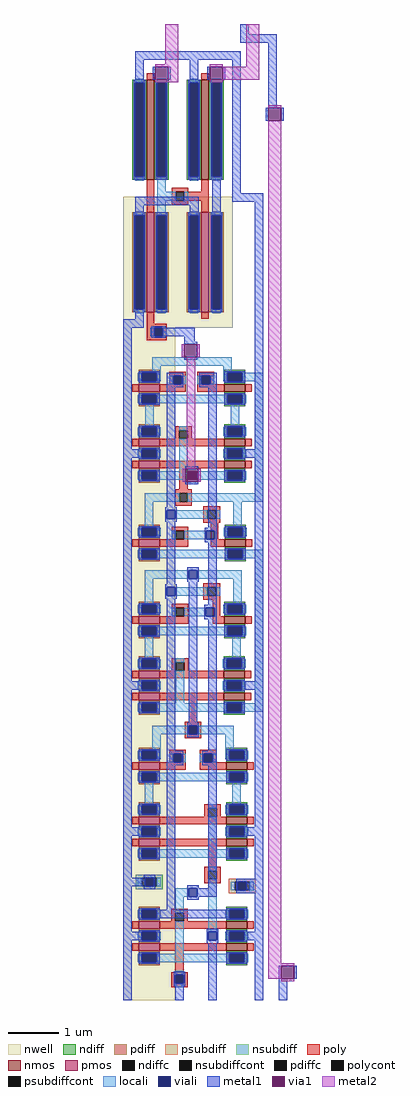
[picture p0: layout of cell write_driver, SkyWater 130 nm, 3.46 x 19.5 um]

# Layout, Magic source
magic
tech sky130A
magscale 1 2
<< poly >>
rect 94 3174 124 3252
rect 193 3230 260 3247
rect 312 3230 342 3252
rect 193 3195 209 3230
rect 243 3195 342 3230
rect 193 3179 260 3195
rect 312 3174 342 3195
rect 94 2702 124 2722
rect 94 2686 174 2702
rect 94 2652 124 2686
rect 158 2652 174 2686
rect 94 2636 174 2652
<< polycont >>
rect 209 3195 243 3230
rect 124 2652 158 2686
<< locali >>
rect 136 3230 170 3274
rect 136 3195 209 3230
rect 243 3195 260 3230
rect 136 3152 170 3195
rect 108 2652 124 2686
rect 158 2652 174 2686
<< viali >>
rect 124 2652 158 2686
<< metal1 >>
rect 466 3861 500 3901
rect 466 3827 612 3861
rect 48 3758 469 3792
rect 48 3678 82 3758
rect 117 3678 127 3730
rect 179 3678 189 3730
rect 266 3678 300 3758
rect 335 3678 345 3730
rect 397 3678 407 3730
rect 47 3176 301 3210
rect 47 3148 82 3176
rect 266 3148 301 3176
rect 354 3136 388 3290
rect 435 3225 469 3758
rect 578 3566 612 3827
rect 568 3514 578 3566
rect 630 3514 640 3566
rect 435 3191 559 3225
rect 47 2720 82 2748
rect 0 2686 82 2720
rect 112 2686 170 2692
rect 525 2686 559 3191
rect 112 2652 124 2686
rect 158 2652 286 2686
rect 112 2646 170 2652
rect 244 2631 252 2652
rect 620 85 630 137
rect 682 85 692 137
rect 620 0 654 85
<< via1 >>
rect 127 3678 179 3730
rect 345 3678 397 3730
rect 578 3514 630 3566
rect 630 85 682 137
<< metal2 >>
rect 167 3740 219 3901
rect 127 3730 219 3740
rect 179 3678 219 3730
rect 127 3668 219 3678
rect 345 3730 397 3740
rect 491 3730 543 3901
rect 397 3678 543 3730
rect 345 3668 397 3678
rect 578 3566 630 3576
rect 578 147 630 3514
rect 578 137 682 147
rect 578 85 630 137
rect 630 75 682 85
use sky130_fd_pr__nfet_01v8_JB3UY8  m1
transform 1 0 109 0 1 3478
box -73 -226 73 226
use sky130_fd_pr__pfet_01v8_5YUHNA  m2
transform 1 0 109 0 1 2948
box -109 -262 109 262
use sky130_fd_pr__pfet_01v8_5YUHNA  m3
transform 1 0 327 0 1 2948
box -109 -262 109 262
use sky130_fd_pr__nfet_01v8_JB3UY8  m4
transform 1 0 327 0 1 3478
box -73 -226 73 226
use ms_ff_f  ms_ff_f_0 ~/Desktop/FabRAM/FE/sram130/ms_ff
transform 0 -1 558 1 0 0
box 0 0 2686 558
<< end >>

# cell sky130_fd_pr__nfet_01v8_JB3UY8: kit device sky130_fd_pr__nfet_01v8, w 2 l 0.150 m 1 nf 1 diffcov 100 polycov 100 guard 0 glc 0 grc 0 gtc 0 gbc 0 tbcov 100 rlcov 100 topc 0 botc 0 poverlap 0 doverlap 0 lmin 0.15 wmin 0.42 compatible {sky130_fd_pr__nfet_01v8 sky130_fd_pr__nfet_01v8_lvt sky130_fd_bs_flash__special_sonosfet_star sky130_fd_pr__nfet_g5v0d10v5 sky130_fd_pr__nfet_05v0_nvt sky130_fd_pr__nfet_03v3_nvt} full_metal 0 viasrc 100 viadrn 100 viagate 100 viagb 0 viagr 0 viagl 0 viagt 0

# cell sky130_fd_pr__pfet_01v8_5YUHNA: kit device sky130_fd_pr__pfet_01v8, w 2 l 0.15 m 1 nf 1 diffcov 100 polycov 100 guard 0 glc 0 grc 0 gtc 0 gbc 0 tbcov 100 rlcov 100 topc 0 botc 0 poverlap 0 doverlap 0 lmin 0.15 wmin 0.42 compatible {sky130_fd_pr__pfet_01v8 sky130_fd_pr__pfet_01v8_lvt sky130_fd_pr__pfet_01v8_hvt sky130_fd_pr__pfet_g5v0d10v5} full_metal 0 viasrc 100 viadrn 100 viagate 100 viagb 0 viagr 0 viagl 0 viagt 0

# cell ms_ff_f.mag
magic
tech sky130A
magscale 1 2
<< nwell >>
rect 0 350 2686 558
<< nmos >>
rect 197 63 227 147
rect 285 63 315 147
rect 614 63 644 147
rect 702 63 732 147
rect 920 63 950 147
rect 1198 73 1228 157
rect 1286 73 1316 157
rect 1504 72 1534 156
rect 1812 70 1842 154
rect 2126 72 2156 156
rect 2214 72 2244 156
rect 2432 72 2462 156
<< pmos >>
rect 197 412 227 496
rect 285 412 315 496
rect 614 412 644 496
rect 702 412 732 496
rect 920 412 950 496
rect 1198 412 1228 496
rect 1286 412 1316 496
rect 1504 412 1534 496
rect 1812 412 1842 496
rect 2126 412 2156 496
rect 2214 412 2244 496
rect 2432 412 2462 496
<< ndiff >>
rect 139 135 197 147
rect 139 75 151 135
rect 185 75 197 135
rect 139 63 197 75
rect 227 135 285 147
rect 227 75 239 135
rect 273 75 285 135
rect 227 63 285 75
rect 315 135 373 147
rect 315 75 327 135
rect 361 75 373 135
rect 315 63 373 75
rect 556 135 614 147
rect 556 75 568 135
rect 602 75 614 135
rect 556 63 614 75
rect 644 135 702 147
rect 644 75 656 135
rect 690 75 702 135
rect 644 63 702 75
rect 732 135 790 147
rect 732 75 744 135
rect 778 75 790 135
rect 732 63 790 75
rect 862 135 920 147
rect 862 75 874 135
rect 908 75 920 135
rect 862 63 920 75
rect 950 135 1008 147
rect 950 75 962 135
rect 996 75 1008 135
rect 950 63 1008 75
rect 1140 145 1198 157
rect 1140 85 1152 145
rect 1186 85 1198 145
rect 1140 73 1198 85
rect 1228 145 1286 157
rect 1228 85 1240 145
rect 1274 85 1286 145
rect 1228 73 1286 85
rect 1316 145 1374 157
rect 1316 85 1328 145
rect 1362 85 1374 145
rect 1316 73 1374 85
rect 1446 144 1504 156
rect 1446 84 1458 144
rect 1492 84 1504 144
rect 1446 72 1504 84
rect 1534 144 1592 156
rect 1534 84 1546 144
rect 1580 84 1592 144
rect 1534 72 1592 84
rect 1754 142 1812 154
rect 1754 82 1766 142
rect 1800 82 1812 142
rect 1754 70 1812 82
rect 1842 142 1900 154
rect 1842 82 1854 142
rect 1888 82 1900 142
rect 1842 70 1900 82
rect 2068 144 2126 156
rect 2068 84 2080 144
rect 2114 84 2126 144
rect 2068 72 2126 84
rect 2156 144 2214 156
rect 2156 84 2168 144
rect 2202 84 2214 144
rect 2156 72 2214 84
rect 2244 144 2302 156
rect 2244 84 2256 144
rect 2290 84 2302 144
rect 2244 72 2302 84
rect 2374 144 2432 156
rect 2374 84 2386 144
rect 2420 84 2432 144
rect 2374 72 2432 84
rect 2462 144 2520 156
rect 2462 84 2474 144
rect 2508 84 2520 144
rect 2462 72 2520 84
<< pdiff >>
rect 139 484 197 496
rect 139 424 151 484
rect 185 424 197 484
rect 139 412 197 424
rect 227 484 285 496
rect 227 424 239 484
rect 273 424 285 484
rect 227 412 285 424
rect 315 484 373 496
rect 315 424 327 484
rect 361 424 373 484
rect 315 412 373 424
rect 556 484 614 496
rect 556 424 568 484
rect 602 424 614 484
rect 556 412 614 424
rect 644 484 702 496
rect 644 424 656 484
rect 690 424 702 484
rect 644 412 702 424
rect 732 484 790 496
rect 732 424 744 484
rect 778 424 790 484
rect 732 412 790 424
rect 862 484 920 496
rect 862 424 874 484
rect 908 424 920 484
rect 862 412 920 424
rect 950 484 1008 496
rect 950 424 962 484
rect 996 424 1008 484
rect 950 412 1008 424
rect 1140 484 1198 496
rect 1140 424 1152 484
rect 1186 424 1198 484
rect 1140 412 1198 424
rect 1228 484 1286 496
rect 1228 424 1240 484
rect 1274 424 1286 484
rect 1228 412 1286 424
rect 1316 484 1374 496
rect 1316 424 1328 484
rect 1362 424 1374 484
rect 1316 412 1374 424
rect 1446 484 1504 496
rect 1446 424 1458 484
rect 1492 424 1504 484
rect 1446 412 1504 424
rect 1534 484 1592 496
rect 1534 424 1546 484
rect 1580 424 1592 484
rect 1534 412 1592 424
rect 1754 484 1812 496
rect 1754 424 1766 484
rect 1800 424 1812 484
rect 1754 412 1812 424
rect 1842 484 1900 496
rect 1842 424 1854 484
rect 1888 424 1900 484
rect 1842 412 1900 424
rect 2068 484 2126 496
rect 2068 424 2080 484
rect 2114 424 2126 484
rect 2068 412 2126 424
rect 2156 484 2214 496
rect 2156 424 2168 484
rect 2202 424 2214 484
rect 2156 412 2214 424
rect 2244 484 2302 496
rect 2244 424 2256 484
rect 2290 424 2302 484
rect 2244 412 2302 424
rect 2374 484 2432 496
rect 2374 424 2386 484
rect 2420 424 2432 484
rect 2374 412 2432 424
rect 2462 484 2520 496
rect 2462 424 2474 484
rect 2508 424 2520 484
rect 2462 412 2520 424
<< ndiffc >>
rect 151 75 185 135
rect 239 75 273 135
rect 327 75 361 135
rect 568 75 602 135
rect 656 75 690 135
rect 744 75 778 135
rect 874 75 908 135
rect 962 75 996 135
rect 1152 85 1186 145
rect 1240 85 1274 145
rect 1328 85 1362 145
rect 1458 84 1492 144
rect 1546 84 1580 144
rect 1766 82 1800 142
rect 1854 82 1888 142
rect 2080 84 2114 144
rect 2168 84 2202 144
rect 2256 84 2290 144
rect 2386 84 2420 144
rect 2474 84 2508 144
<< pdiffc >>
rect 151 424 185 484
rect 239 424 273 484
rect 327 424 361 484
rect 568 424 602 484
rect 656 424 690 484
rect 744 424 778 484
rect 874 424 908 484
rect 962 424 996 484
rect 1152 424 1186 484
rect 1240 424 1274 484
rect 1328 424 1362 484
rect 1458 424 1492 484
rect 1546 424 1580 484
rect 1766 424 1800 484
rect 1854 424 1888 484
rect 2080 424 2114 484
rect 2168 424 2202 484
rect 2256 424 2290 484
rect 2386 424 2420 484
rect 2474 424 2508 484
<< psubdiff >>
rect 427 114 485 138
rect 427 54 439 114
rect 473 54 485 114
rect 427 30 485 54
<< nsubdiff >>
rect 442 484 500 508
rect 442 424 454 484
rect 488 424 500 484
rect 442 400 500 424
<< psubdiffcont >>
rect 439 54 473 114
<< nsubdiffcont >>
rect 454 424 488 484
<< poly >>
rect 197 496 227 522
rect 285 496 315 522
rect 614 496 644 522
rect 702 496 732 522
rect 920 496 950 522
rect 1198 496 1228 522
rect 1286 496 1316 522
rect 1504 496 1534 522
rect 1812 496 1842 522
rect 2126 496 2156 522
rect 2214 496 2244 522
rect 2432 496 2462 522
rect 51 350 111 366
rect 197 350 227 412
rect 51 316 67 350
rect 101 316 227 350
rect 51 300 111 316
rect 197 147 227 316
rect 285 366 315 412
rect 285 350 365 366
rect 285 316 315 350
rect 349 316 365 350
rect 285 300 365 316
rect 285 147 315 300
rect 467 219 533 235
rect 614 219 644 412
rect 467 185 483 219
rect 517 185 644 219
rect 467 169 533 185
rect 614 147 644 185
rect 702 235 732 412
rect 920 374 950 412
rect 920 358 1000 374
rect 920 324 950 358
rect 984 324 1000 358
rect 920 308 1000 324
rect 1046 297 1112 313
rect 1198 297 1228 412
rect 1046 263 1062 297
rect 1096 263 1228 297
rect 920 236 1001 252
rect 1046 247 1112 263
rect 702 219 782 235
rect 702 185 732 219
rect 766 185 782 219
rect 702 169 782 185
rect 920 202 950 236
rect 984 202 1001 236
rect 920 185 1001 202
rect 702 147 732 169
rect 920 147 950 185
rect 1198 157 1228 263
rect 1286 364 1316 412
rect 1504 364 1534 412
rect 1812 364 1842 412
rect 1286 348 1366 364
rect 1286 314 1316 348
rect 1350 314 1366 348
rect 1286 298 1366 314
rect 1504 348 1584 364
rect 1504 314 1534 348
rect 1568 314 1584 348
rect 1504 298 1584 314
rect 1812 348 1892 364
rect 1812 314 1842 348
rect 1876 314 1892 348
rect 1812 298 1892 314
rect 1976 335 2042 351
rect 2126 335 2156 412
rect 1976 300 1992 335
rect 2026 300 2156 335
rect 1286 157 1316 298
rect 1976 284 2042 300
rect 1600 222 1666 238
rect 1600 202 1616 222
rect 1504 188 1616 202
rect 1650 188 1666 222
rect 1908 222 1974 238
rect 1908 210 1924 222
rect 1504 172 1666 188
rect 1812 188 1924 210
rect 1958 188 1974 222
rect 1812 180 1974 188
rect 197 37 227 63
rect 285 37 315 63
rect 1504 156 1534 172
rect 614 37 644 63
rect 702 37 732 63
rect 920 37 950 63
rect 1198 47 1228 73
rect 1286 47 1316 73
rect 1812 154 1842 180
rect 1908 172 1974 180
rect 2126 156 2156 300
rect 2214 351 2244 412
rect 2432 374 2462 412
rect 2432 358 2512 374
rect 2214 335 2294 351
rect 2214 300 2244 335
rect 2278 300 2294 335
rect 2432 324 2462 358
rect 2496 324 2512 358
rect 2432 308 2512 324
rect 2214 284 2294 300
rect 2214 156 2244 284
rect 2432 246 2512 262
rect 2432 212 2462 246
rect 2496 212 2512 246
rect 2432 196 2512 212
rect 2432 156 2462 196
rect 1504 46 1534 72
rect 1812 44 1842 70
rect 2126 46 2156 72
rect 2214 46 2244 72
rect 2432 46 2462 72
<< polycont >>
rect 67 316 101 350
rect 315 316 349 350
rect 483 185 517 219
rect 950 324 984 358
rect 1062 263 1096 297
rect 732 185 766 219
rect 950 202 984 236
rect 1316 314 1350 348
rect 1534 314 1568 348
rect 1842 314 1876 348
rect 1992 300 2026 335
rect 1616 188 1650 222
rect 1924 188 1958 222
rect 2244 300 2278 335
rect 2462 324 2496 358
rect 2462 212 2496 246
<< locali >>
rect 151 484 185 500
rect 151 350 185 424
rect 239 484 273 500
rect 239 408 273 424
rect 327 484 361 500
rect 327 408 361 424
rect 454 484 488 500
rect 454 408 488 424
rect 568 484 602 500
rect 51 316 67 350
rect 101 316 117 350
rect 151 316 315 350
rect 349 316 447 350
rect 151 135 185 316
rect 413 297 447 316
rect 568 219 602 424
rect 656 484 690 500
rect 656 408 690 424
rect 744 484 778 500
rect 874 484 908 500
rect 778 438 874 472
rect 744 408 778 424
rect 273 185 483 219
rect 517 185 533 219
rect 568 185 732 219
rect 766 185 782 219
rect 151 59 185 75
rect 239 135 273 151
rect 239 59 273 75
rect 327 135 361 151
rect 568 135 602 185
rect 327 59 361 75
rect 439 114 473 130
rect 568 59 602 75
rect 656 135 690 151
rect 656 59 690 75
rect 744 135 778 151
rect 874 135 908 424
rect 962 484 996 500
rect 1152 484 1186 500
rect 996 424 1096 442
rect 962 408 1096 424
rect 950 358 984 374
rect 950 308 984 324
rect 1062 297 1096 408
rect 950 236 984 252
rect 950 185 984 202
rect 1062 151 1096 263
rect 778 89 874 123
rect 744 59 778 75
rect 874 59 908 75
rect 962 135 1096 151
rect 996 117 1096 135
rect 1152 348 1186 424
rect 1240 484 1274 500
rect 1240 408 1274 424
rect 1328 484 1362 500
rect 1458 484 1492 500
rect 1362 438 1458 472
rect 1328 408 1362 424
rect 1152 314 1316 348
rect 1350 314 1366 348
rect 1152 145 1186 314
rect 962 59 996 75
rect 439 38 473 54
rect 1152 34 1186 85
rect 1240 145 1274 161
rect 1240 69 1274 85
rect 1328 145 1362 161
rect 1458 144 1492 424
rect 1546 484 1580 500
rect 1766 484 1800 500
rect 1580 438 1718 472
rect 1546 408 1580 424
rect 1534 348 1568 364
rect 1534 228 1568 314
rect 1616 222 1650 350
rect 1616 172 1650 188
rect 1684 297 1718 438
rect 1362 89 1458 123
rect 1328 69 1362 85
rect 1458 68 1492 84
rect 1546 144 1580 160
rect 1684 120 1718 263
rect 1580 86 1718 120
rect 1766 142 1800 424
rect 1854 484 1888 500
rect 2080 484 2114 500
rect 1888 438 2026 472
rect 1854 408 1888 424
rect 1842 348 1876 364
rect 1842 227 1876 314
rect 1924 222 1958 350
rect 1924 172 1958 188
rect 1992 335 2026 438
rect 1546 68 1580 84
rect 1766 34 1800 82
rect 1854 142 1888 158
rect 1992 120 2026 300
rect 1888 86 2026 120
rect 1854 66 1888 82
rect 1152 0 1800 34
rect 1992 34 2026 86
rect 2080 335 2114 424
rect 2168 484 2202 500
rect 2168 408 2202 424
rect 2256 484 2290 500
rect 2386 484 2420 500
rect 2290 437 2386 471
rect 2256 408 2290 424
rect 2080 301 2244 335
rect 2114 300 2244 301
rect 2278 300 2294 335
rect 2080 144 2114 267
rect 2080 68 2114 84
rect 2168 144 2202 160
rect 2168 68 2202 84
rect 2256 144 2290 160
rect 2386 144 2420 424
rect 2474 484 2508 500
rect 2508 424 2569 442
rect 2474 408 2569 424
rect 2462 358 2496 374
rect 2462 308 2496 324
rect 2462 246 2496 262
rect 2462 196 2496 212
rect 2535 160 2569 408
rect 2290 96 2386 130
rect 2256 68 2290 84
rect 2386 68 2420 84
rect 2474 144 2569 160
rect 2508 125 2569 144
rect 2474 34 2508 84
rect 1992 0 2508 34
<< viali >>
rect 151 424 185 484
rect 239 424 273 484
rect 327 424 361 484
rect 454 437 488 471
rect 568 424 602 484
rect 67 316 101 350
rect 413 263 447 297
rect 656 424 690 484
rect 744 424 778 484
rect 874 424 908 484
rect 239 185 273 219
rect 151 75 185 135
rect 239 75 273 135
rect 327 75 361 135
rect 439 67 473 101
rect 568 75 602 135
rect 656 75 690 135
rect 744 75 778 135
rect 962 424 996 484
rect 950 324 984 358
rect 1062 263 1096 297
rect 950 202 984 236
rect 874 75 908 135
rect 962 75 996 135
rect 1152 424 1186 484
rect 1240 424 1274 484
rect 1328 424 1362 484
rect 1458 424 1492 484
rect 1152 85 1186 145
rect 1240 85 1274 145
rect 1328 85 1362 145
rect 1546 424 1580 484
rect 1534 194 1568 228
rect 1616 350 1650 384
rect 1684 263 1718 297
rect 1458 84 1492 144
rect 1546 84 1580 144
rect 1766 424 1800 484
rect 1854 424 1888 484
rect 1842 193 1876 227
rect 1924 350 1958 384
rect 1766 82 1800 142
rect 1854 82 1888 142
rect 2080 424 2114 484
rect 2168 424 2202 484
rect 2256 424 2290 484
rect 2386 424 2420 484
rect 2080 267 2114 301
rect 2080 84 2114 144
rect 2168 84 2202 144
rect 2256 84 2290 144
rect 2474 424 2508 484
rect 2462 324 2496 358
rect 2462 212 2496 246
rect 2386 84 2420 144
rect 2474 84 2508 144
<< metal1 >>
rect 0 524 2686 558
rect 239 496 273 524
rect 145 484 191 496
rect 145 424 151 484
rect 185 424 191 484
rect 145 412 191 424
rect 233 484 279 496
rect 233 424 239 484
rect 273 424 279 484
rect 233 412 279 424
rect 321 484 367 496
rect 321 424 327 484
rect 361 424 367 484
rect 454 477 488 524
rect 656 496 690 524
rect 1240 496 1274 524
rect 2168 496 2202 524
rect 562 484 608 496
rect 442 471 500 477
rect 442 437 454 471
rect 488 437 500 471
rect 442 431 500 437
rect 321 412 367 424
rect 562 424 568 484
rect 602 424 608 484
rect 562 412 608 424
rect 650 484 696 496
rect 650 424 656 484
rect 690 424 696 484
rect 650 412 696 424
rect 738 484 784 496
rect 738 424 744 484
rect 778 424 784 484
rect 738 412 784 424
rect 868 484 914 496
rect 868 424 874 484
rect 908 424 914 484
rect 868 412 914 424
rect 956 484 1002 496
rect 956 424 962 484
rect 996 424 1002 484
rect 956 412 1002 424
rect 1146 484 1192 496
rect 1146 424 1152 484
rect 1186 424 1192 484
rect 1146 412 1192 424
rect 1234 484 1280 496
rect 1234 424 1240 484
rect 1274 424 1280 484
rect 1234 412 1280 424
rect 1322 484 1368 496
rect 1322 424 1328 484
rect 1362 424 1368 484
rect 1322 412 1368 424
rect 1452 484 1498 496
rect 1452 424 1458 484
rect 1492 424 1498 484
rect 1452 412 1498 424
rect 1540 484 1586 496
rect 1540 424 1546 484
rect 1580 424 1586 484
rect 1540 412 1586 424
rect 1760 484 1806 496
rect 1760 424 1766 484
rect 1800 424 1806 484
rect 1760 412 1806 424
rect 1848 484 1894 496
rect 1848 424 1854 484
rect 1888 424 1894 484
rect 1848 412 1894 424
rect 2074 484 2120 496
rect 2074 424 2080 484
rect 2114 424 2120 484
rect 2074 412 2120 424
rect 2162 484 2208 496
rect 2162 424 2168 484
rect 2202 424 2208 484
rect 2162 412 2208 424
rect 2250 484 2296 496
rect 2250 424 2256 484
rect 2290 424 2296 484
rect 2250 412 2296 424
rect 2380 484 2426 496
rect 2380 424 2386 484
rect 2420 424 2426 484
rect 2380 412 2426 424
rect 2468 484 2514 496
rect 2468 424 2474 484
rect 2508 424 2514 484
rect 2468 412 2514 424
rect 327 384 361 412
rect 1604 384 1662 390
rect 1912 384 1970 390
rect 327 358 1616 384
rect 55 350 113 356
rect 0 316 67 350
rect 101 316 113 350
rect 55 310 113 316
rect 327 350 950 358
rect 227 219 285 225
rect 0 185 239 219
rect 273 185 285 219
rect 227 179 285 185
rect 327 147 361 350
rect 938 324 950 350
rect 984 350 1616 358
rect 1650 350 1924 384
rect 1958 358 2508 384
rect 1958 350 2462 358
rect 984 324 996 350
rect 1604 344 1662 350
rect 1912 344 1970 350
rect 938 318 996 324
rect 2450 324 2462 350
rect 2496 324 2508 358
rect 2450 318 2508 324
rect 401 297 459 303
rect 401 263 413 297
rect 447 263 459 297
rect 401 257 459 263
rect 1050 297 1108 303
rect 1672 297 1730 303
rect 1050 263 1062 297
rect 1096 263 1684 297
rect 1718 263 1730 297
rect 1050 257 1108 263
rect 1672 257 1730 263
rect 2061 258 2071 310
rect 2123 258 2133 310
rect 2559 262 2569 314
rect 2621 306 2631 314
rect 2621 272 2686 306
rect 2621 262 2631 272
rect 413 219 447 257
rect 2449 246 2508 254
rect 938 236 996 242
rect 938 219 950 236
rect 413 202 950 219
rect 984 219 996 236
rect 1522 228 1580 234
rect 1522 219 1534 228
rect 984 202 1534 219
rect 413 194 1534 202
rect 1568 219 1580 228
rect 1830 227 1888 233
rect 1830 219 1842 227
rect 1568 194 1842 219
rect 413 193 1842 194
rect 1876 219 1888 227
rect 2449 219 2462 246
rect 1876 212 2462 219
rect 2496 212 2508 246
rect 1876 193 2508 212
rect 413 185 2508 193
rect 145 135 191 147
rect 145 75 151 135
rect 185 75 191 135
rect 145 63 191 75
rect 233 135 279 147
rect 233 75 239 135
rect 273 75 279 135
rect 233 63 279 75
rect 321 135 367 147
rect 321 75 327 135
rect 361 75 367 135
rect 562 135 608 147
rect 321 63 367 75
rect 427 101 485 107
rect 427 67 439 101
rect 473 67 485 101
rect 239 34 273 63
rect 427 34 485 67
rect 562 75 568 135
rect 602 75 608 135
rect 562 63 608 75
rect 650 135 696 147
rect 650 75 656 135
rect 690 75 696 135
rect 650 63 696 75
rect 738 135 784 147
rect 738 75 744 135
rect 778 75 784 135
rect 738 63 784 75
rect 868 135 914 147
rect 868 75 874 135
rect 908 75 914 135
rect 868 63 914 75
rect 956 135 1002 147
rect 956 75 962 135
rect 996 75 1002 135
rect 956 63 1002 75
rect 1146 145 1192 157
rect 1146 85 1152 145
rect 1186 85 1192 145
rect 1146 73 1192 85
rect 1234 145 1280 157
rect 1234 85 1240 145
rect 1274 85 1280 145
rect 1234 73 1280 85
rect 1322 145 1368 157
rect 1322 85 1328 145
rect 1362 85 1368 145
rect 1322 73 1368 85
rect 1452 144 1498 156
rect 1452 84 1458 144
rect 1492 84 1498 144
rect 656 34 690 63
rect 1240 34 1274 73
rect 1452 72 1498 84
rect 1540 144 1586 156
rect 1540 84 1546 144
rect 1580 84 1586 144
rect 1540 72 1586 84
rect 1760 142 1806 154
rect 1760 82 1766 142
rect 1800 82 1806 142
rect 1760 70 1806 82
rect 1848 142 1894 154
rect 1848 82 1854 142
rect 1888 82 1894 142
rect 1848 70 1894 82
rect 2074 144 2120 156
rect 2074 84 2080 144
rect 2114 84 2120 144
rect 2074 72 2120 84
rect 2162 144 2208 156
rect 2162 84 2168 144
rect 2202 84 2208 144
rect 2162 72 2208 84
rect 2250 144 2296 156
rect 2250 84 2256 144
rect 2290 84 2296 144
rect 2250 72 2296 84
rect 2380 144 2426 156
rect 2380 84 2386 144
rect 2420 84 2426 144
rect 2380 72 2426 84
rect 2468 144 2514 156
rect 2468 84 2474 144
rect 2508 84 2514 144
rect 2468 72 2514 84
rect 2168 34 2202 72
rect 0 33 1274 34
rect 1921 33 2364 34
rect 0 0 2686 33
<< via1 >>
rect 2071 301 2123 310
rect 2071 267 2080 301
rect 2080 267 2114 301
rect 2114 267 2123 301
rect 2071 258 2123 267
rect 2569 262 2621 314
<< metal2 >>
rect 2071 310 2123 320
rect 2569 314 2621 324
rect 2123 271 2569 305
rect 2071 248 2123 258
rect 2569 252 2621 262
<< labels >>
rlabel metal1 0 316 34 350 0 clk
rlabel metal1 0 185 34 219 0 d
rlabel metal1 0 524 34 558 0 VDD
rlabel metal1 0 0 34 34 0 VSS
rlabel metal1 2652 272 2686 306 0 q
<< end >>
